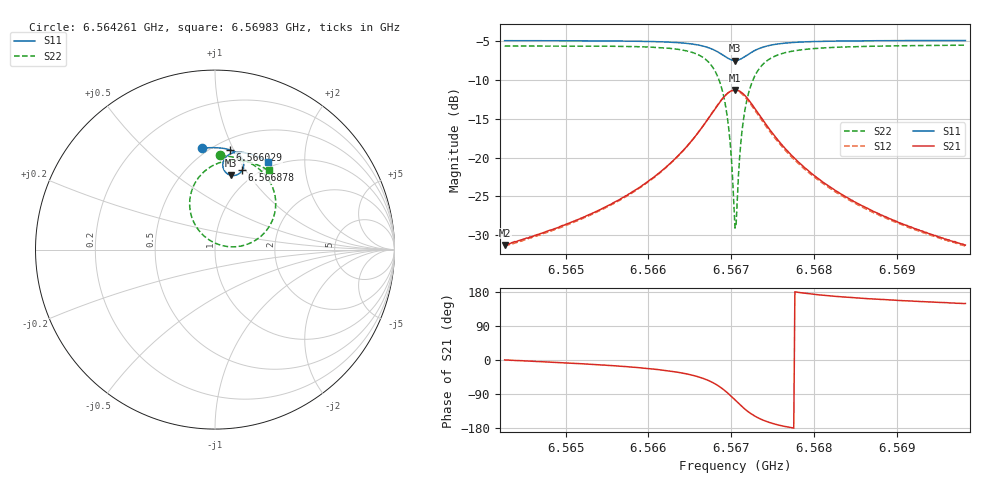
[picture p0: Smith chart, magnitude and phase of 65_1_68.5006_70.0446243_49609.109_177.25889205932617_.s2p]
#  HZ  S  RI  R  50.00
! Rohde & Schwarz Vector Network Analyzer
! Rohde-Schwarz,ZNB20-2Port,1311601062101988,3.16
! Created: UTC 3/20/2024, 5:06:39 PM
! freq[Hz]  re:S11  im:S11  re:S21  im:S21  re:S12  im:S12  re:S22  im:S22
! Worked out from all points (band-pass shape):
!   401 points, 6.564261 GHz to 6.56983 GHz, reference 50 ohm
!   highest |S21| = -11.26 dB at 6.567045 GHz (marker M1); lowest = -31.3 dB at 6.564261 GHz (marker M2)
!   |S21| within 3 dB of the highest: 6.566768 GHz to 6.567325 GHz (557.2 kHz wide, 0.00848 % of centre)
!   lowest |S11| = -7.5 dB at 6.567045 GHz (marker M3), VSWR 2.47, Z = 41 + j41.4 ohm
!   |S11| at or under -10 dB: nowhere
!   |S22| runs from -29.1 to -5.5 dB; largest |S21 - S12| = 0.013
!   S11 on the Smith chart (normalised r, x): 6.564261 GHz: 0.46, +0.77; 6.566029 GHz: 0.59, +0.97; 6.566878 GHz: 0.85, +0.97; 6.56983 GHz: 0.92, +1.33
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6.5642613e9  -0.0701 0.5647  0.0272 3.94e-05  0.0268 -0.000487  0.0291 0.5244
6.565194e9  0.00578 0.5678  0.0402 -0.00698  0.0394 -0.00772  0.1162 0.5123
6.5660292e9  0.0826 0.5559  0.0667 -0.0286  0.0655 -0.0293  0.2215 0.4672
6.5661267e9  0.0929 0.5525  0.0716 -0.0343  0.0707 -0.035  0.2375 0.4556
6.5664329e9  0.1276 0.5335  0.0923 -0.0655  0.0908 -0.067  0.2962 0.3934
6.5666557e9  0.153 0.503  0.106 -0.1185  0.1037 -0.1208  0.3358 0.2914
6.5667809e9  0.1601 0.4726  0.099 -0.1718  0.0947 -0.1749  0.3291 0.19
6.5668784e9  0.1516 0.4419  0.0672 -0.2246  0.06 -0.2274  0.2732 0.0911
6.5669619e9  0.1271 0.4188  0.00849 -0.2618  -0.00205 -0.2617  0.1656 0.025
6.5669898e9  0.1153 0.4144  -0.0174 -0.2675  -0.0286 -0.2659  0.1188 0.0161
6.5670315e9  0.0958 0.4129  -0.059 -0.2669  -0.0703 -0.2622  0.0451 0.0212
6.5670454e9  0.0893 0.4138  -0.0728 -0.2637  -0.0838 -0.2581  0.0209 0.0282
6.5670594e9  0.0829 0.4157  -0.0863 -0.2594  -0.0969 -0.2528  -0.00221 0.0375
6.5670733e9  0.0768 0.4181  -0.0992 -0.2537  -0.1093 -0.2462  -0.0241 0.0489
6.567115e9  0.0611 0.4291  -0.1328 -0.2301  -0.1408 -0.2206  -0.0797 0.0945
6.5671568e9  0.05 0.4439  -0.157 -0.2004  -0.1622 -0.1896  -0.1169 0.1498
6.5672125e9  0.0436 0.465  -0.1739 -0.1583  -0.1759 -0.1477  -0.1393 0.2251
6.5672821e9  0.0457 0.4887  -0.1766 -0.112  -0.1758 -0.1029  -0.1357 0.3061
6.5675327e9  0.0841 0.5325  -0.134 -0.0248  -0.1311 -0.0209  -0.0387 0.4517
6.5679781e9  0.1449 0.5423  -0.078 0.00836  -0.0761 0.00954  0.0898 0.497
6.5689108e9  0.2305 0.5206  -0.0376 0.0147  -0.0369 0.015  0.2195 0.4783
6.5698296e9  0.2977 0.4872  -0.0234 0.014  -0.0228 0.0142  0.2981 0.4409
